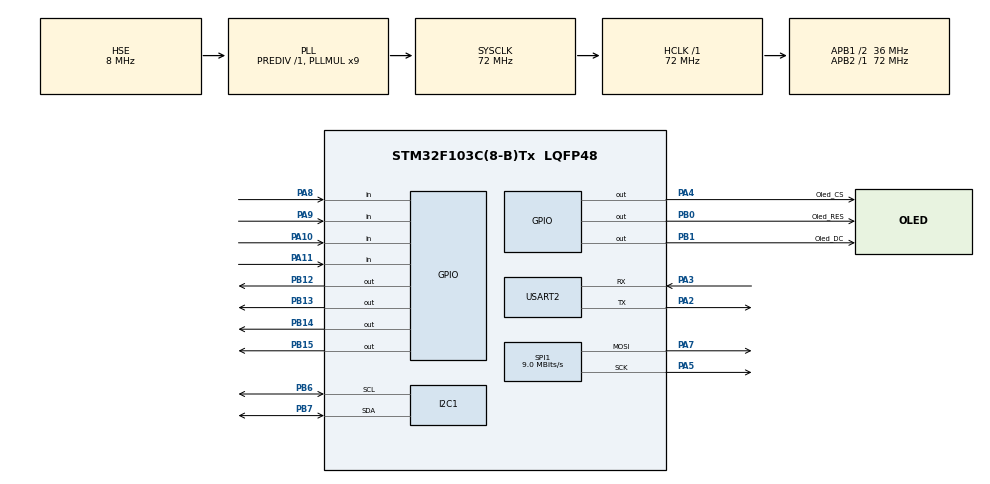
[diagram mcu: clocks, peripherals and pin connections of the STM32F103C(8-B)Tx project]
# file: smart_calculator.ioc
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Mcu.Family=STM32F1
Mcu.Name=STM32F103C(8-B)Tx
Mcu.Package=LQFP48
NVIC.PriorityGroup=NVIC_PRIORITYGROUP_4
NVIC.USART2_IRQn=true\:0\:0\:false\:false\:true\:true\:true\:true
PA10.GPIO_PuPd=GPIO_PULLUP
PA10.Signal=GPIO_Input
PA11.GPIO_PuPd=GPIO_PULLUP
PA11.Signal=GPIO_Input
PA13.Mode=Serial_Wire
PA13.Signal=SYS_JTMS-SWDIO
PA14.Mode=Serial_Wire
PA14.Signal=SYS_JTCK-SWCLK
PA2.Mode=Asynchronous
PA2.Signal=USART2_TX
PA3.Mode=Asynchronous
PA3.Signal=USART2_RX
PA4.GPIO_Label=Oled_CS
PA4.Signal=GPIO_Output
PA5.Mode=TX_Only_Simplex_Unidirect_Master
PA5.Signal=SPI1_SCK
PA7.Mode=TX_Only_Simplex_Unidirect_Master
PA7.Signal=SPI1_MOSI
PA8.GPIO_PuPd=GPIO_PULLUP
PA8.Signal=GPIO_Input
PA9.GPIO_PuPd=GPIO_PULLUP
PA9.Signal=GPIO_Input
PB0.GPIO_Label=Oled_RES
PB0.Signal=GPIO_Output
PB1.GPIO_Label=Oled_DC
PB1.Signal=GPIO_Output
PB12.Signal=GPIO_Output
PB13.Signal=GPIO_Output
PB14.Signal=GPIO_Output
PB15.Signal=GPIO_Output
PB6.Mode=I2C
PB6.Signal=I2C1_SCL
PB7.Mode=I2C
PB7.Signal=I2C1_SDA
PD0-OSC_IN.Mode=HSE-External-Oscillator
PD0-OSC_IN.Signal=RCC_OSC_IN
PD1-OSC_OUT.Mode=HSE-External-Oscillator
PD1-OSC_OUT.Signal=RCC_OSC_OUT
ProjectManager.HeapSize=0x200
ProjectManager.StackSize=0x400
ProjectManager.TargetToolchain=STM32CubeIDE
RCC.AHBFreq_Value=72000000
RCC.APB1CLKDivider=RCC_HCLK_DIV2
RCC.APB1Freq_Value=36000000
RCC.APB1TimFreq_Value=72000000
RCC.APB2Freq_Value=72000000
RCC.APB2TimFreq_Value=72000000
RCC.HCLKFreq_Value=72000000
RCC.PLLMUL=RCC_PLL_MUL9
RCC.PLLSourceVirtual=RCC_PLLSOURCE_HSE
RCC.SYSCLKFreq_VALUE=72000000
RCC.SYSCLKSource=RCC_SYSCLKSOURCE_PLLCLK
RCC.USBFreq_Value=72000000
SPI1.BaudRatePrescaler=SPI_BAUDRATEPRESCALER_8
SPI1.CalculateBaudRate=9.0 MBits/s
SPI1.Direction=SPI_DIRECTION_2LINES
SPI1.Mode=SPI_MODE_MASTER
SPI1.VirtualType=VM_MASTER
USART2.VirtualMode=VM_ASYNC
board=custom

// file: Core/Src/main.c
/* USER CODE BEGIN Header */
/**
  ******************************************************************************
  * @file           : main.c
  * @brief          : Main program body
  ******************************************************************************
  * @attention
  *
  * Copyright (c) 2026 STMicroelectronics.
  * All rights reserved.
  *
  * This software is licensed under terms that can be found in the LICENSE file
  * in the root directory of this software component.
  * If no LICENSE file comes with this software, it is provided AS-IS.
  *
  ******************************************************************************
  */
/* USER CODE END Header */
#include "main.h"

/* USER CODE BEGIN Includes */
#include "ssd1306.h"
#include "ssd1306_fonts.h"
#include "stdio.h"
#include "string.h"
#include "math.h"
/* USER CODE END Includes */

I2C_HandleTypeDef hi2c1;

SPI_HandleTypeDef hspi1;

UART_HandleTypeDef huart2;

/* USER CODE BEGIN PV */
// Bản đồ phím Keypad
uint8_t keypad_map[4][4] = {
    {'1','2','3','+'},
    {'4','5','6','-'},
    {'7','8','9','x'},
    {'*','0','#','/'}
};

char msg[50];        // Bộ đệm gửi UART
char display_msg[20] = "Ready...";
char time_now[15], date_now[15]; // Thêm 2 dòng này để lưu chuỗi giờ/ngày

uint8_t is_setting_time = 0; // 0: Chế độ xem giờ, 1: Chế độ chỉnh giờ
uint8_t input_count = 0;     // Đếm xem đã nhập bao nhiêu số
char input_buffer[5];        // Lưu 4 số nhập vào (HHMM)
uint8_t mode= 0;				//0:đong hồ và máy tính; 1: chỉnh giờ
uint32_t pressTime = 0;			// kiểm tra thời gian đè phím A
uint8_t isPress = 0;
float num1 = 0, num2 = 0, result = 0;
char op = 0;
uint8_t digit_count=0;
char str_num1[10] = "";
char str_num2[10] = "";
uint8_t state = 0; 			// trạng thái nhập: 0: nhập num1; 2: nhập num2; 3: sau khi nhấn "="
uint32_t lastKeyTime = 0;
char error_msg[16];
float temp = 0;
uint8_t has_num1 = 0;
uint8_t has_result = 0;
// Biến dùng cho tính năng Nhận lệnh UART
uint8_t rx_byte;         // Chứa 1 ký tự vừa nhận được
char rx_buf[32];         // Cuốn sổ ghi chép lại nguyên 1 dòng lệnh (VD: "SET 14:30")
uint8_t rx_index = 0;    // Đếm xem đã ghi được bao nhiêu chữ
uint8_t cmd_ready = 0;   // Báo hiệu: 0 = chưa có lệnh, 1 = đã có lệnh hoàn chỉnh
float nums[10];     // Lưu tối đa 10 số trong 1 phép tính
char ops[10];       // Lưu tối đa 10 phép toán
int step_idx = 0;   // Đếm xem đang ở bước thứ mấy
uint8_t is_typing_number = 0; // Cờ kiểm tra đang gõ dở một số
/* USER CODE END PV */

void SystemClock_Config(void);
static void MX_GPIO_Init(void);
static void MX_SPI1_Init(void);
static void MX_I2C1_Init(void);
static void MX_USART2_UART_Init(void);
/* USER CODE BEGIN PFP */
void Get_Time(char* time_str, char* date_str);
/* USER CODE END PFP */

/* USER CODE BEGIN 0 */
// --- 1. BIẾN TOÀN CỤC CHO MÀN HÌNH ---
char calc_display_str[64] = "";

// --- 2. CÁC HÀM CƠ BẢN ---
void UART_Print(char* str) {
    HAL_UART_Transmit(&huart2, (uint8_t*)str, strlen(str), 100);
}

char Keypad_Scan(void) {
    for(int i=0; i<4; i++) {
        HAL_GPIO_WritePin(GPIOB, GPIO_PIN_12|GPIO_PIN_13|GPIO_PIN_14|GPIO_PIN_15, GPIO_PIN_SET);
        HAL_GPIO_WritePin(GPIOB, (GPIO_PIN_12 << i), GPIO_PIN_RESET);
        if(HAL_GPIO_ReadPin(GPIOA, GPIO_PIN_8) == GPIO_PIN_RESET) return keypad_map[i][0];
        if(HAL_GPIO_ReadPin(GPIOA, GPIO_PIN_9) == GPIO_PIN_RESET) return keypad_map[i][1];
        if(HAL_GPIO_ReadPin(GPIOA, GPIO_PIN_10) == GPIO_PIN_RESET) return keypad_map[i][2];
        if(HAL_GPIO_ReadPin(GPIOA, GPIO_PIN_11) == GPIO_PIN_RESET) return keypad_map[i][3];
    }
    return 0;
}

uint8_t Button_Handle(char key){
    if(key == '+') {
        if(isPress==0) { pressTime = HAL_GetTick(); isPress = 1; }
        else if(isPress==1 && (HAL_GetTick() - pressTime > 2000)){
            mode = (mode == 0) ? 1 : 0; isPress = 2; return 2;
        }
        return 0;
    } else {
        if (isPress == 1) { isPress = 0; return 1; }
        isPress = 0; return 0;
    }
}

void format_num(char* buf, float val) {
    int int_part = (int)val;
    if (val == int_part) sprintf(buf, "%d", int_part);
    else {
        int dec_part = (int)(fabs(val - int_part) * 100);
        if (val < 0 && int_part == 0) sprintf(buf, "-0.%02d", dec_part);
        else sprintf(buf, "%d.%02d", int_part, dec_part);
    }
}

// --- 3. LOGIC MÁY TÍNH ---
void Build_Display_String() {
    char temp_str[15];
    calc_display_str[0] = '\0';

    for (int i = 0; i <= step_idx; i++) {
        if (i < step_idx || is_typing_number) {
            format_num(temp_str, nums[i]);
            strcat(calc_display_str, temp_str);
        }
        if (i < step_idx) {
            int len = strlen(calc_display_str);
            calc_display_str[len] = ' ';
            calc_display_str[len+1] = ops[i];
            calc_display_str[len+2] = ' ';
            calc_display_str[len+3] = '\0';
        }
    }
}

float Smart_Calculator() {
    float temp_n[10];
    char temp_o[10];
    int t_idx = 0;

    temp_n[0] = nums[0];
    for (int i = 0; i < step_idx; i++) {
        if (ops[i] == 'x') {
            temp_n[t_idx] = temp_n[t_idx] * nums[i+1];
        }
        else if (ops[i] == '/') {
            if (nums[i+1] == 0) return INFINITY;
            temp_n[t_idx] = temp_n[t_idx] / nums[i+1];
        }
        else {
            temp_o[t_idx] = ops[i];
            t_idx++;
            temp_n[t_idx] = nums[i+1];
        }
    }

    float final_result = temp_n[0];
    for (int i = 0; i < t_idx; i++) {
        if (temp_o[i] == '+') final_result += temp_n[i+1];
        if (temp_o[i] == '-') final_result -= temp_n[i+1];
    }
    return final_result;
}

void Calculator_HandleKey(char key) {
	// --- 1. CHỐT CHẶN LỖI (KHIẾN BÀN PHÍM ĐÓNG BĂNG NẾU CÓ LỖI) ---
	    if (error_msg[0] != '\0') {
	        if (key == '*') {
	            for(int i=0; i<10; i++) { nums[i] = 0; ops[i] = 0; }
	            step_idx = 0;
	            is_typing_number = 0;
	            has_result = 0;
	            error_msg[0] = '\0';
	        }
	        return;
	    }

	    // --- 2. PHÍM CLEAR (*) ---
	    if (key == '*') {
	        for(int i=0; i<10; i++) { nums[i] = 0; ops[i] = 0; }
	        step_idx = 0;
	        is_typing_number = 0;
	        has_result = 0;
	        return;
	    }

	    // --- 3. PHÍM SỐ (0-9) - FIX LỖI TRÀN 7 SỐ TẠI ĐÂY ---
	    if (key >= '0' && key <= '9') {
	        if (has_result == 1) {
	            nums[0] = 0;
	            has_result = 0;
	        }

	        // Tính thử xem nếu thêm số này vào có bị tràn không
	        float temp_val = nums[step_idx] * 10 + (key - '0');
	        if (temp_val > 9999999 || temp_val < -9999999) {
	            sprintf(error_msg, "Too large!");
	            UART_Print("[ERR] Input Too Large!\r\n");
	            return;
	        }

	        nums[step_idx] = temp_val;
	        is_typing_number = 1;
	    }

	    // --- 4. PHÍM PHÉP TÍNH (+ - x /) ---
	    else if (key == '+' || key == '-' || key == 'x' || key == '/') {
	        has_result = 0;

	        // FIX LỖI +2 và -3 TẠI ĐÂY: Bấm phép tính khi chưa có số nào
	        if (!is_typing_number && step_idx == 0) {
	            if (key == 'x' || key == '/') {
	                sprintf(error_msg, "No num1!");
	                UART_Print("[ERR] No num1!\r\n");
	                return;
	            } else if (key == '+' || key == '-') {
	                // Cho phép nhập +2 hoặc -3 ngay từ đầu (Hiểu ngầm là: 0 + X hoặc 0 - X)
	                nums[0] = 0;
	                ops[0] = key;
	                step_idx = 1;
	                return;
	            }
	        }

	        if (is_typing_number) {
	            ops[step_idx] = key;
	            step_idx++;
	            is_typing_number = 0;
	        } else if (step_idx > 0) {
	            ops[step_idx - 1] = key;
	        }
	    }

	    // --- 5. PHÍM BẰNG (#) ---
	    else if (key == '#') {
	        if (!is_typing_number && step_idx > 0) {
	            sprintf(error_msg, "No num2!");
	            UART_Print("[ERR] No num2!\r\n");
	            return;
	        }

	        if (is_typing_number && step_idx > 0) {
	            Build_Display_String();
	            float result = Smart_Calculator();

	            if (isinf(result) || isnan(result)) {
	                sprintf(error_msg, "Div by 0!");
	                UART_Print("[ERR] Math Error: Div by 0!\r\n");
	                return;
	            }

	            // FIX LỖI KẾT QUẢ BỊ TRÀN
	            if (result > 9999999 || result < -9999999) {
	                sprintf(error_msg, "Overflow!");
	                UART_Print("[ERR] Result Overflow!\r\n");
	                return;
	            }

	            char uart_buf[128];
	            sprintf(uart_buf, "[MAY TINH] %s = %.2f\r\n", calc_display_str, result);
	            UART_Print(uart_buf);

	            for(int i=0; i<10; i++) { nums[i] = 0; ops[i] = 0; }
	            nums[0] = result;
	            step_idx = 0;
	            is_typing_number = 1;
	            has_result = 1;
	        }
	        else if (is_typing_number && step_idx == 0) {
	            has_result = 1;
	        }
	    }
}

// --- 4. LOGIC ĐỒNG HỒ ---
typedef struct {
    uint8_t seconds; uint8_t minutes; uint8_t hour; uint8_t dayofweek;
    uint8_t dayofmonth; uint8_t month; uint8_t year;
} TIME;

TIME time;

uint8_t bcdToDec(uint8_t val) { return ( (val/16*10) + (val%16) ); }
uint8_t decToBcd(uint8_t val) { return ( (val/10*16) + (val%10) ); }

void Set_Time(uint8_t sec, uint8_t min, uint8_t hour, uint8_t dow, uint8_t dom, uint8_t month, uint8_t year) {
    uint8_t set_time[7];
    set_time[0] = decToBcd(sec); set_time[1] = decToBcd(min); set_time[2] = decToBcd(hour);
    set_time[3] = decToBcd(dow); set_time[4] = decToBcd(dom); set_time[5] = decToBcd(month); set_time[6] = decToBcd(year);
    HAL_I2C_Mem_Write(&hi2c1, 0xD0, 0x00, 1, set_time, 7, 1000);
}

void Get_Time(char* time_str, char* date_str) {
    uint8_t get_time[7];
    if (HAL_I2C_Mem_Read(&hi2c1, 0xD0, 0x00, 1, get_time, 7, 1000) == HAL_OK) {
        uint8_t s = bcdToDec(get_time[0]); uint8_t m = bcdToDec(get_time[1]); uint8_t h = bcdToDec(get_time[2]);
        uint8_t day = bcdToDec(get_time[4]); uint8_t month = bcdToDec(get_time[5]); uint8_t year = bcdToDec(get_time[6]);
        time.dayofmonth = day; time.month = month; time.year = year;
        sprintf(time_str, "%02d:%02d:%02d", h, m, s);
        sprintf(date_str, "%02d/%02d/20%02d", day, month, year);
    } else {
        sprintf(time_str, "RTC Error"); sprintf(date_str, "00/00/0000");
    }
}

void Process_Time_Setting(char key) {
    if (key >= '0' && key <= '9' && input_count < 4) {
        input_buffer[input_count++] = key; input_buffer[input_count] = '\0';
    } else if (key == '*') {
        input_count = 0; input_buffer[0] = '\0';
    } else if (key == '#') {
        if (input_count == 4) {
            int h = (input_buffer[0] - '0') * 10 + (input_buffer[1] - '0');
            int m = (input_buffer[2] - '0') * 10 + (input_buffer[3] - '0');
            if (h < 24 && m < 60) {
                Set_Time(0, m, h, 5, time.dayofmonth, time.month, time.year);
                mode = 0; input_count = 0;
            }
        }
    }
}
/* USER CODE END 0 */

int main(void)
{

  /* MCU Configuration--------------------------------------------------------*/

  /* Reset of all peripherals, Initializes the Flash interface and the Systick. */
  HAL_Init();

  /* Configure the system clock */
  SystemClock_Config();

  /* Initialize all configured peripherals */
  MX_GPIO_Init();
  MX_SPI1_Init();
  MX_I2C1_Init();
  MX_USART2_UART_Init();
  /* USER CODE BEGIN 2 */
      ssd1306_Init();
      // Cài đặt: Giây, Phút, Giờ, Thứ, Ngày, Tháng, Năm (Gỡ dòng này sau khi đã nạp 1 lần)
      // Bắt đầu lắng nghe UART (Kích hoạt ngắt nhận)
            HAL_UART_Receive_IT(&huart2, &rx_byte, 1);
  /* USER CODE END 2 */

  /* Infinite loop */
  /* USER CODE BEGIN WHILE */
  while (1)
  {
	  char key = Keypad_Scan(); // Luôn quét phím mỗi vòng lặp
	  // -----> BẮT ĐẦU ĐOẠN XỬ LÝ LỆNH TỪ PC <-----
	        if (cmd_ready == 1) {
	            // Kiểm tra xem lệnh gửi xuống có đúng chữ "SET " không (VD: "SET 14:30")
	            if (strncmp((char*)rx_buf, "SET ", 4) == 0 && strlen((char*)rx_buf) >= 9) {
	                // Cắt lấy giờ (Vị trí số 4 và 5) và phút (Vị trí số 7 và 8)
	                int h = (rx_buf[4] - '0') * 10 + (rx_buf[5] - '0');
	                int m = (rx_buf[7] - '0') * 10 + (rx_buf[8] - '0');

	                if (h >= 0 && h < 24 && m >= 0 && m < 60) {
	                    // Cập nhật vào chip RTC
	                    Set_Time(0, m, h, 5, time.dayofmonth, time.month, time.year);
	                    UART_Print("[SYS] Time Updated from PC!\r\n");
	                } else {
	                    UART_Print("[ERR] Invalid Time format!\r\n");
	                }
	            } else {
	                UART_Print("[ERR] Unknown Command. Try 'SET HH:MM'\r\n");
	            }

	            // Xử lý xong thì xóa sổ, dọn cờ để đón lệnh tiếp theo
	            rx_index = 0;
	            cmd_ready = 0;
	        }
	        // -----> KẾT THÚC ĐOẠN XỬ LÝ LỆNH TỪ PC <-----
	  uint8_t btn = Button_Handle(key);
	  uint8_t showClock = 0;
	  if (mode == 0) {
		  char effective_key = key;
		  if ( effective_key != 0) {
		      lastKeyTime = HAL_GetTick();
		      // Nếu màn hình đang là đồng hồ, phím đầu tiên chỉ dùng để đánh thức, xóa phím đó đi
		      if (showClock == 1) {
		          showClock = 0;
		          effective_key = 0;
		      }
		  }
		  if ( HAL_GetTick() - lastKeyTime > 15000 ) showClock = 1;

		  if ( showClock == 0 )
		  {
			  if (key == '+') effective_key = 0; // đè A thì effective_key không nhận giá trị tránh nhảy dấu cộng trên màn hình
			  if (key == 0 && btn ==1) effective_key = '+'; // nhấn A nhưng nhả ra nhanh
			  if ( effective_key != 0) {
				  Calculator_HandleKey(effective_key);
				  HAL_Delay(200);
			  }
			  char buffer[32];
			  char short_time[6];
			  Get_Time(time_now, date_now);
			  ssd1306_Fill(Black);
			  ssd1306_SetCursor(0, 0);
			  ssd1306_WriteString("-CALC-", Font_7x10, White);
			  snprintf(short_time, sizeof(short_time), "%c%c:%c%c",
					  time_now[0], time_now[1],
					  time_now[3], time_now[4]);
			  ssd1306_SetCursor(85, 0);
			  ssd1306_WriteString(short_time, Font_7x10, White);
			  if (error_msg[0] != '\0') {
			          // --- HIỂN THỊ LỖI ---
			          ssd1306_SetCursor(10, 20);
			          ssd1306_WriteString(error_msg, Font_11x18, White);
			          ssd1306_SetCursor(0, 50);
			          ssd1306_WriteString("*:Clear", Font_6x8, White);
			          ssd1306_UpdateScreen();
			      }
			  else {
				  // Cập nhật chuỗi phép tính
				                    Build_Display_String();

				                    // In chuỗi phép tính (Ví dụ: 2 + 3 / 3)
				                    ssd1306_SetCursor(0, 14);
				                    ssd1306_WriteString(calc_display_str, Font_7x10, White);

				                    // In kết quả nếu có
				                    char result_str[12];
				                    format_num(result_str, nums[0]); // Vì kết quả cuối cùng đã gán ngược vào nums[0]

				                    char buffer[32];
				                    sprintf(buffer, "= %s", (has_result ? result_str : ""));
				                    ssd1306_SetCursor(0, 28);
				                    ssd1306_WriteString(buffer, Font_11x18, White);

				                    ssd1306_SetCursor(0, 50);
				                    ssd1306_WriteString("#:=  *:Clear", Font_6x8, White); // Đổi hướng dẫn một xíu
				                    ssd1306_UpdateScreen();
			  }
			  HAL_Delay(50);
		  }
		  if ( showClock == 1 ) {
			  Get_Time(time_now, date_now);
			  ssd1306_Fill(Black);
			  	            ssd1306_SetCursor(25, 0);
			  	            ssd1306_WriteString(date_now, Font_7x10, White);
			  	            ssd1306_SetCursor(18, 18);
			  	            ssd1306_WriteString(time_now, Font_11x18, White);
			  	            ssd1306_SetCursor(10, 48);
			  	            ssd1306_WriteString(display_msg, Font_7x10, White);
			  	            ssd1306_UpdateScreen();
		  }
	  }
	  else {
	            // --- CHẾ ĐỘ 2: MENU CHỈNH GIỜ ---
	        	HAL_Delay(200);
	            if (key != 0) {
	                Process_Time_Setting(key);
	                HAL_Delay(200);
	            }

	            ssd1306_Fill(Black);
	            ssd1306_SetCursor(10, 0);
	            ssd1306_WriteString("SET TIME (HHMM)", Font_7x10, White);

	            // Hiển thị định dạng HH:MM để người dùng dễ nhìn
	            char temp_show[10];
	            sprintf(temp_show, "%c%c:%c%c",
	                    (input_count > 0 ? input_buffer[0] : '_'),
	                    (input_count > 1 ? input_buffer[1] : '_'),
	                    (input_count > 2 ? input_buffer[2] : '_'),
	                    (input_count > 3 ? input_buffer[3] : '_'));

	            ssd1306_SetCursor(35, 22);
	            ssd1306_WriteString(temp_show, Font_11x18, White);

	            ssd1306_SetCursor(0, 50);
	            ssd1306_WriteString("#:Save  *:Clear", Font_7x10, White);
	            ssd1306_UpdateScreen();

	        HAL_Delay(50); // Giảm Delay xuống để phím bấm nhạy hơn
	  }
    /* USER CODE END WHILE */

  }
}

void SystemClock_Config(void)
{
  RCC_OscInitTypeDef RCC_OscInitStruct = {0};
  RCC_ClkInitTypeDef RCC_ClkInitStruct = {0};

  /** Initializes the RCC Oscillators according to the specified parameters
  * in the RCC_OscInitTypeDef structure.
  */
  RCC_OscInitStruct.OscillatorType = RCC_OSCILLATORTYPE_HSE;
  RCC_OscInitStruct.HSEState = RCC_HSE_ON;
  RCC_OscInitStruct.HSEPredivValue = RCC_HSE_PREDIV_DIV1;
  RCC_OscInitStruct.HSIState = RCC_HSI_ON;
  RCC_OscInitStruct.PLL.PLLState = RCC_PLL_ON;
  RCC_OscInitStruct.PLL.PLLSource = RCC_PLLSOURCE_HSE;
  RCC_OscInitStruct.PLL.PLLMUL = RCC_PLL_MUL9;
  if (HAL_RCC_OscConfig(&RCC_OscInitStruct) != HAL_OK)
  {
    Error_Handler();
  }

  /** Initializes the CPU, AHB and APB buses clocks
  */
  RCC_ClkInitStruct.ClockType = RCC_CLOCKTYPE_HCLK|RCC_CLOCKTYPE_SYSCLK
                              |RCC_CLOCKTYPE_PCLK1|RCC_CLOCKTYPE_PCLK2;
  RCC_ClkInitStruct.SYSCLKSource = RCC_SYSCLKSOURCE_PLLCLK;
  RCC_ClkInitStruct.AHBCLKDivider = RCC_SYSCLK_DIV1;
  RCC_ClkInitStruct.APB1CLKDivider = RCC_HCLK_DIV2;
  RCC_ClkInitStruct.APB2CLKDivider = RCC_HCLK_DIV1;

  if (HAL_RCC_ClockConfig(&RCC_ClkInitStruct, FLASH_LATENCY_2) != HAL_OK)
  {
    Error_Handler();
  }
}

static void MX_I2C1_Init(void)
{

  hi2c1.Instance = I2C1;
  hi2c1.Init.ClockSpeed = 100000;
  hi2c1.Init.DutyCycle = I2C_DUTYCYCLE_2;
  hi2c1.Init.OwnAddress1 = 0;
  hi2c1.Init.AddressingMode = I2C_ADDRESSINGMODE_7BIT;
  hi2c1.Init.DualAddressMode = I2C_DUALADDRESS_DISABLE;
  hi2c1.Init.OwnAddress2 = 0;
  hi2c1.Init.GeneralCallMode = I2C_GENERALCALL_DISABLE;
  hi2c1.Init.NoStretchMode = I2C_NOSTRETCH_DISABLE;
  if (HAL_I2C_Init(&hi2c1) != HAL_OK)
  {
    Error_Handler();
  }

}

static void MX_SPI1_Init(void)
{

  /* SPI1 parameter configuration*/
  hspi1.Instance = SPI1;
  hspi1.Init.Mode = SPI_MODE_MASTER;
  hspi1.Init.Direction = SPI_DIRECTION_2LINES;
  hspi1.Init.DataSize = SPI_DATASIZE_8BIT;
  hspi1.Init.CLKPolarity = SPI_POLARITY_LOW;
  hspi1.Init.CLKPhase = SPI_PHASE_1EDGE;
  hspi1.Init.NSS = SPI_NSS_SOFT;
  hspi1.Init.BaudRatePrescaler = SPI_BAUDRATEPRESCALER_8;
  hspi1.Init.FirstBit = SPI_FIRSTBIT_MSB;
  hspi1.Init.TIMode = SPI_TIMODE_DISABLE;
  hspi1.Init.CRCCalculation = SPI_CRCCALCULATION_DISABLE;
  hspi1.Init.CRCPolynomial = 10;
  if (HAL_SPI_Init(&hspi1) != HAL_OK)
  {
    Error_Handler();
  }

}

static void MX_USART2_UART_Init(void)
{

  huart2.Instance = USART2;
  huart2.Init.BaudRate = 115200;
  huart2.Init.WordLength = UART_WORDLENGTH_8B;
  huart2.Init.StopBits = UART_STOPBITS_1;
  huart2.Init.Parity = UART_PARITY_NONE;
  huart2.Init.Mode = UART_MODE_TX_RX;
  huart2.Init.HwFlowCtl = UART_HWCONTROL_NONE;
  huart2.Init.OverSampling = UART_OVERSAMPLING_16;
  if (HAL_UART_Init(&huart2) != HAL_OK)
  {
    Error_Handler();
  }

}

static void MX_GPIO_Init(void)
{
  GPIO_InitTypeDef GPIO_InitStruct = {0};

  /* GPIO Ports Clock Enable */
  __HAL_RCC_GPIOD_CLK_ENABLE();
  __HAL_RCC_GPIOA_CLK_ENABLE();
  __HAL_RCC_GPIOB_CLK_ENABLE();

  /*Configure GPIO pin Output Level */
  HAL_GPIO_WritePin(Oled_CS_GPIO_Port, Oled_CS_Pin, GPIO_PIN_RESET);

  /*Configure GPIO pin Output Level */
  HAL_GPIO_WritePin(GPIOB, Oled_RES_Pin|Oled_DC_Pin|GPIO_PIN_12|GPIO_PIN_13
                          |GPIO_PIN_14|GPIO_PIN_15, GPIO_PIN_RESET);

  /*Configure GPIO pin : Oled_CS_Pin */
  GPIO_InitStruct.Pin = Oled_CS_Pin;
  GPIO_InitStruct.Mode = GPIO_MODE_OUTPUT_PP;
  GPIO_InitStruct.Pull = GPIO_NOPULL;
  GPIO_InitStruct.Speed = GPIO_SPEED_FREQ_LOW;
  HAL_GPIO_Init(Oled_CS_GPIO_Port, &GPIO_InitStruct);

  /*Configure GPIO pins : Oled_RES_Pin Oled_DC_Pin PB12 PB13
                           PB14 PB15 */
  GPIO_InitStruct.Pin = Oled_RES_Pin|Oled_DC_Pin|GPIO_PIN_12|GPIO_PIN_13
                          |GPIO_PIN_14|GPIO_PIN_15;
  GPIO_InitStruct.Mode = GPIO_MODE_OUTPUT_PP;
  GPIO_InitStruct.Pull = GPIO_NOPULL;
  GPIO_InitStruct.Speed = GPIO_SPEED_FREQ_LOW;
  HAL_GPIO_Init(GPIOB, &GPIO_InitStruct);

  /*Configure GPIO pins : PA8 PA9 PA10 PA11 */
  GPIO_InitStruct.Pin = GPIO_PIN_8|GPIO_PIN_9|GPIO_PIN_10|GPIO_PIN_11;
  GPIO_InitStruct.Mode = GPIO_MODE_INPUT;
  GPIO_InitStruct.Pull = GPIO_PULLUP;
  HAL_GPIO_Init(GPIOA, &GPIO_InitStruct);

}

/* USER CODE BEGIN 4 */
// Hàm này tự động chạy mỗi khi nhận được 1 chữ từ máy tính
void HAL_UART_RxCpltCallback(UART_HandleTypeDef *huart) {
    if (huart->Instance == USART2) {
        if (rx_byte == '\n' || rx_byte == '\r') {
            if (rx_index > 0) {
                rx_buf[rx_index] = '\0';
                cmd_ready = 1;
            }
        } else {
            if (rx_index < 30) {
                rx_buf[rx_index++] = rx_byte;
            }
        }
        HAL_UART_Receive_IT(&huart2, &rx_byte, 1);
    }
}

// Hàm "cấp cứu": Tự động khởi động lại bộ lắng nghe nếu bị lỗi nghẹn dữ liệu
void HAL_UART_ErrorCallback(UART_HandleTypeDef *huart) {
    if (huart->Instance == USART2) {
        __HAL_UART_CLEAR_OREFLAG(huart);
        HAL_UART_Receive_IT(&huart2, &rx_byte, 1);
    }
}
/* USER CODE END 4 */

void Error_Handler(void)
{
  __disable_irq();
  while (1)
  {
  }
}
